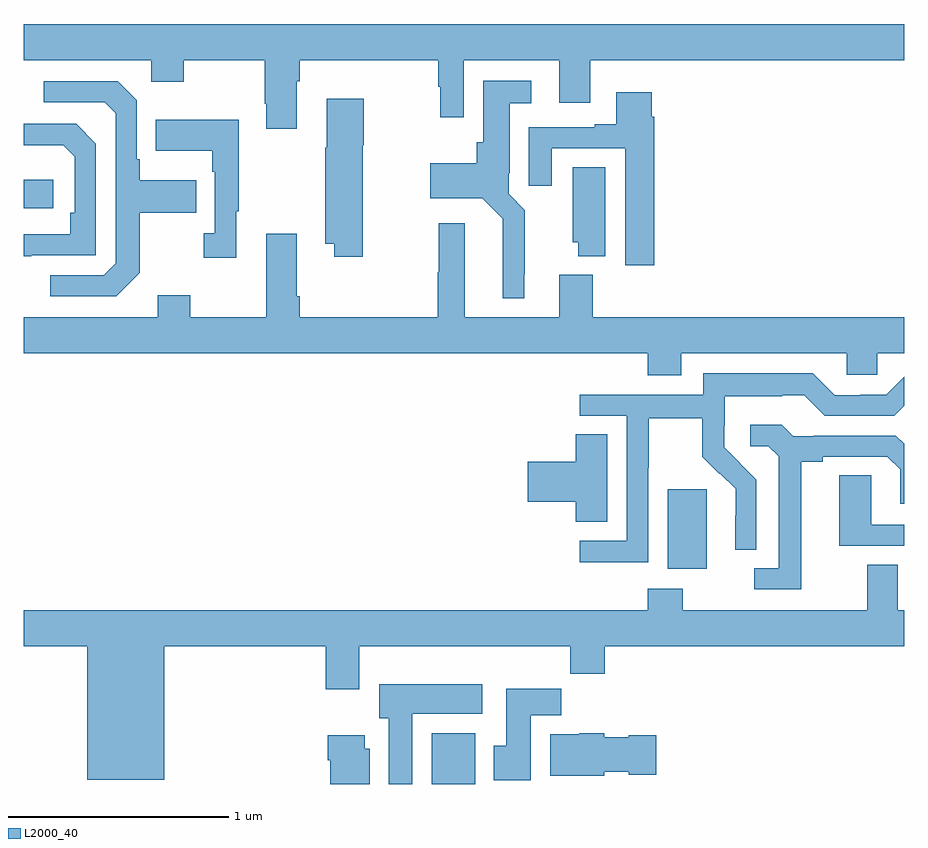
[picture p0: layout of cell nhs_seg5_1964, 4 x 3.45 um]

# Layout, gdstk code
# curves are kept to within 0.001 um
import gdstk
lib = gdstk.Library(unit=1e-6, precision=1e-09)
def R(c, l, rs):  # rectangles x0, y0, x1, y1
    for r in rs: c.add(gdstk.rectangle(r[:2], r[2:], *l))
def P(c, l, *ps):  # polygons
    for p in ps: c.add(gdstk.Polygon(p, *l))
L2000_40 = (2000, 40)

nhs_seg5_1964 = lib.new_cell('nhs_seg5_1964')
R(nhs_seg5_1964, L2000_40, [(228.854,858.799,229.051,859.03), (229.925,859.778,230.104,860.139), (227,861.414,227.134,861.544)])
P(nhs_seg5_1964, L2000_40, [(228.241,861.992),(228.254,861.992),(228.254,862.088),(228.883,862.088),(228.883,861.966),(228.891,861.966),(228.891,861.828),(228.999,861.828),(228.999,862.088),(229.433,862.088),(229.433,861.894),(229.573,861.894),(229.573,862.088),(231,862.088),(231,862.252),(227,862.252),(227,862.088),(227.58,862.088),(227.58,861.989),(227.727,861.989),(227.727,862.088),(228.094,862.088),(228.094,861.889),(228.101,861.889),(228.101,861.777),(228.241,861.777)],
  [(229.273,861.115),(229.277,861.115),(229.277,861.406),(229.203,861.48),(229.203,861.574),(229.207,861.574),(229.207,861.893),(229.306,861.893),(229.306,861.994),(229.088,861.994),(229.088,861.714),(229.058,861.714),(229.058,861.619),(228.846,861.619),(228.846,861.461),(229.083,861.461),(229.176,861.368),(229.175,861.005),(229.273,861.005)],
  [(227.527,861.121),(227.527,861.394),(227.783,861.394),(227.783,861.541),(227.527,861.541),(227.527,861.637),(227.514,861.637),(227.514,861.906),(227.427,861.993),(227.091,861.993),(227.091,861.897),(227.367,861.897),(227.418,861.846),(227.418,861.165),(227.364,861.111),(227.121,861.111),(227.121,861.015),(227.421,861.015)],
  [(229.865,861.83),(229.852,861.83),(229.852,861.943),(229.691,861.943),(229.691,861.796),(229.595,861.796),(229.595,861.783),(229.295,861.783),(229.295,861.516),(229.399,861.516),(229.399,861.687),(229.733,861.687),(229.733,861.156),(229.865,861.156)],
  [(228.54,861.7),(228.545,861.7),(228.545,861.913),(228.377,861.913),(228.377,861.689),(228.37,861.689),(228.37,861.254),(228.41,861.254),(228.41,861.195),(228.54,861.195)],
  [(227.965,861.401),(227.977,861.401),(227.977,861.817),(227.599,861.817),(227.599,861.677),(227.856,861.677),(227.856,861.581),(227.868,861.581),(227.868,861.302),(227.817,861.302),(227.817,861.189),(227.965,861.189)],
  [(227.033,861.201),(227.328,861.201),(227.328,861.708),(227.238,861.798),(227,861.798),(227,861.701),(227.179,861.701),(227.232,861.648),(227.232,861.394),(227.212,861.394),(227.212,861.297),(227,861.297),(227,861.196),(227.033,861.196)],
  [(229.642,861.602),(229.493,861.602),(229.493,861.261),(229.52,861.261),(229.52,861.197),(229.642,861.197)],
  [(229.987,860.756),(230.739,860.756),(230.739,860.658),(230.877,860.658),(230.877,860.756),(231,860.756),(231,860.92),(229.586,860.92),(229.586,861.112),(229.433,861.112),(229.433,860.92),(229.003,860.92),(229.003,861.346),(228.886,861.346),(228.886,861.125),(228.881,861.125),(228.881,860.92),(228.254,860.92),(228.254,861.016),(228.241,861.016),(228.241,861.298),(228.101,861.298),(228.101,860.92),(227.757,860.92),(227.757,861.019),(227.609,861.019),(227.609,860.92),(227,860.92),(227,860.756),(229.835,860.756),(229.835,860.657),(229.987,860.657)],
  [(229.836,860.236),(229.839,860.236),(229.839,860.46),(230.083,860.46),(230.083,860.285),(230.16,860.208),(230.163,860.211),(230.234,860.141),(230.234,860.018),(230.232,860.018),(230.232,859.864),(230.328,859.864),(230.328,860.182),(230.182,860.33),(230.182,860.427),(230.184,860.427),(230.184,860.561),(230.447,860.561),(230.447,860.565),(230.547,860.565),(230.64,860.472),(230.955,860.472),(231,860.517),(231,860.649),(230.919,860.568),(230.801,860.568),(230.801,860.565),(230.685,860.565),(230.585,860.665),(230.088,860.665),(230.088,860.568),(229.527,860.568),(229.527,860.472),(229.74,860.472),(229.74,859.905),(229.527,859.905),(229.527,859.807),(229.836,859.807)],
  [(230.533,860.264),(230.629,860.264),(230.629,860.286),(230.924,860.286),(230.981,860.229),(230.981,860.073),(231,860.073),(231,860.344),(230.962,860.382),(230.59,860.382),(230.59,860.379),(230.496,860.379),(230.444,860.431),(230.301,860.431),(230.301,860.334),(230.382,860.334),(230.429,860.287),(230.429,859.779),(230.319,859.779),(230.319,859.683),(230.533,859.683)],
  [(229.651,860.387),(229.508,860.387),(229.508,860.264),(229.29,860.264),(229.29,860.081),(229.508,860.081),(229.508,859.99),(229.651,859.99)],
  [(231,859.977),(230.85,859.977),(230.85,860.201),(230.705,860.201),(230.705,859.881),(231,859.881)],
  [(227.638,859.424),(228.371,859.424),(228.371,859.23),(228.523,859.23),(228.523,859.424),(229.483,859.424),(229.483,859.3),(229.64,859.3),(229.64,859.424),(231,859.424),(231,859.588),(230.971,859.588),(230.971,859.796),(230.831,859.796),(230.831,859.588),(229.995,859.588),(229.995,859.687),(229.835,859.687),(229.835,859.588),(227,859.588),(227,859.424),(227.288,859.424),(227.288,858.818),(227.638,858.818)],
  [(228.766,859.118),(229.084,859.118),(229.084,859.252),(228.614,859.252),(228.614,859.098),(228.659,859.098),(228.659,858.799),(228.766,858.799)],
  [(229.303,859.112),(229.442,859.112),(229.442,859.231),(229.193,859.231),(229.193,858.972),(229.136,858.972),(229.136,858.816),(229.303,858.816)],
  [(229.638,858.854),(229.749,858.854),(229.749,858.842),(229.873,858.842),(229.873,859.02),(229.749,859.02),(229.749,859.012),(229.638,859.012),(229.638,859.03),(229.524,859.03),(229.524,859.024),(229.391,859.024),(229.391,858.836),(229.638,858.836)],
  [(228.571,858.96),(228.55,858.96),(228.55,859.021),(228.38,859.021),(228.38,858.908),(228.392,858.908),(228.392,858.799),(228.571,858.799)])

lib.write_gds('nhs_seg5_1964.gds')
